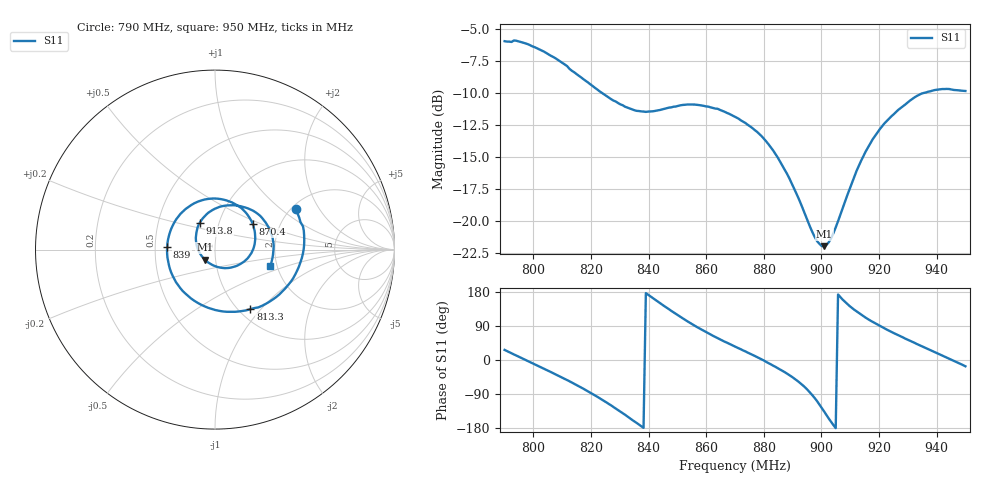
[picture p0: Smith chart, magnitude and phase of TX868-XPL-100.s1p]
# MHz S MA R 50
!  freq  S11
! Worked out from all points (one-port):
!   200 points, 790 MHz to 950 MHz, reference 50 ohm
!   lowest |S11| = -22.0 dB at 901 MHz (marker M1), VSWR 1.17, Z = 44.3 - j4.94 ohm
!   |S11| at or under -10 dB: 823.8 MHz to 935.6 MHz (111.8 MHz wide, 12.7 % of centre)
!   S11 on the Smith chart (normalised r, x): 790 MHz: 2.11, +1.28; 813.3 MHz: 1.13, -0.88; 839 MHz: 0.58, +0.02; 870.4 MHz: 1.46, +0.44; 913.8 MHz: 0.81, +0.25; 950 MHz: 1.84, -0.38
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790  0.5038 26.6
794.02  0.5059 12.0
798.844  0.486 -5.7
803.668  0.4587 -22.9
810.101  0.4143 -46.8
813.317  0.3862 -59.3
821.357  0.331 -93.3
830.201  0.2852 -136.2
834.221  0.2728 -157.7
839.045  0.2665 176.4
844.673  0.2724 146.3
850.302  0.2815 117.8
854.322  0.2849 98.4
859.146  0.2814 77.1
863.97  0.2741 57.5
870.402  0.2537 33.8
879.246  0.2142 1.5
884.874  0.1765 -21.8
890.503  0.134 -48.4
897.739  0.08618 -101.0
900.955  0.07955 -135.9
904.171  0.08942 -171.7
910.603  0.1407 137.3
913.819  0.1719 119.7
921.859  0.2401 83.7
930.704  0.2947 50.9
940.352  0.3256 17.6
950  0.3217 -16.6
